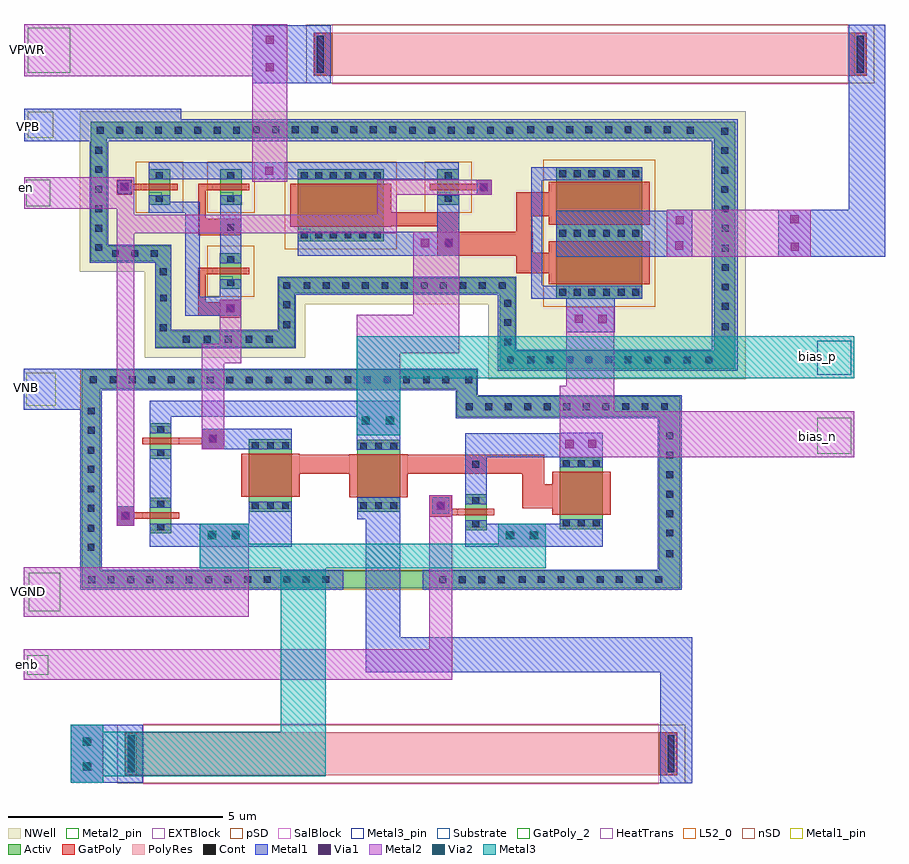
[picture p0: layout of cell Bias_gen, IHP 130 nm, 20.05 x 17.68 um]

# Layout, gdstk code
from math import pi, radians
import gdstk
lib = gdstk.Library(unit=1e-6, precision=5e-09)
def R(c, l, rs):  # rectangles x0, y0, x1, y1
    for r in rs: c.add(gdstk.rectangle(r[:2], r[2:], *l))
def A(c, l, x, y, w, h, nx, ny, dx, dy):  # array of equal rectangles
    R(c, l, [(x+i*dx, y+j*dy, x+i*dx+w, y+j*dy+h) for i in range(nx) for j in range(ny)])
def P(c, l, *ps):  # polygons
    for p in ps: c.add(gdstk.Polygon(p, *l))
Activ = (1, 0)
GatPoly = (5, 0)
GatPoly_2 = (5, 2)
Cont = (6, 0)
nSD = (7, 0)
Metal1 = (8, 0)
Metal1_pin = (8, 2)
Metal2 = (10, 0)
Metal2_pin = (10, 2)
pSD = (14, 0)
Via1 = (19, 0)
SalBlock = (28, 0)
Via2 = (29, 0)
Metal3 = (30, 0)
Metal3_pin = (30, 2)
NWell = (31, 0)
Substrate = (40, 0)
HeatTrans = (51, 0)
L52_0 = (52, 0)
EXTBlock = (111, 0)
PolyRes = (128, 0)

pmos_1 = lib.new_cell('pmos$1')
R(pmos_1, Activ, [(0,0,0.3,0.3), (0,0,0.83,0.5), (0.53,0,0.83,0.3)])
R(pmos_1, GatPoly, [(0.34,-0.18,0.49,0.68), (0.34,-0.18,0.49,0.68)])
R(pmos_1, Cont, [(0.07,0.17,0.23,0.33), (0.6,0.17,0.76,0.33)])
R(pmos_1, Metal1, [(0.07,0,0.23,0.5), (0.07,0,0.23,0.5), (0.6,0,0.76,0.5), (0.6,0,0.76,0.5)])
R(pmos_1, pSD, [(-0.18,-0.3,1.01,0.8)])
R(pmos_1, NWell, [(-0.31,-0.31,1.14,0.81)])
R(pmos_1, Substrate, [(0.53,0,0.83,0.3)])
R(pmos_1, HeatTrans, [(0.34,-0.18,0.49,0.68)])
pmos_1.add(gdstk.Label('pmos', (0.415,0.25), layer=63, texttype=0))
pmos_1.add(gdstk.Label('pmos', (0.415,0.25), layer=51, texttype=0))

pmos_2 = lib.new_cell('pmos$2')
R(pmos_2, Activ, [(0,0,0.3,0.3), (0,0,1.68,2), (1.38,0,1.68,0.3)])
R(pmos_2, GatPoly, [(0.34,-0.18,1.34,2.18), (0.34,-0.18,1.34,2.18)])
A(pmos_2, Cont, 0.07, 0.07, 0.16, 0.16, 1, 6, 0, 0.34)
A(pmos_2, Cont, 1.45, 0.07, 0.16, 0.16, 1, 6, 0, 0.34)
R(pmos_2, Metal1, [(0.07,0,0.23,2), (0.07,0,0.23,2), (1.45,0,1.61,2), (1.45,0,1.61,2)])
R(pmos_2, pSD, [(-0.18,-0.3,1.86,2.3)])
R(pmos_2, NWell, [(-0.31,-0.31,1.99,2.31)])
R(pmos_2, Substrate, [(1.38,0,1.68,0.3)])
R(pmos_2, HeatTrans, [(0.34,-0.18,1.34,2.18)])
pmos_2.add(gdstk.Label('pmos', (0.84,1), layer=63, texttype=0))
pmos_2.add(gdstk.Label('pmos', (0.84,1), layer=51, texttype=0))

pmos = lib.new_cell('pmos')
A(pmos, Activ, 0, 0, 0.3, 0.3, 3, 1, 1.38, 0)
R(pmos, Activ, [(0,0,3.06,2)])
R(pmos, GatPoly, [(0.34,-0.18,1.34,2.18), (0.34,-0.18,1.34,2.18), (1.72,-0.18,2.72,2.18)])
A(pmos, Cont, 0.07, 0.07, 0.16, 0.16, 3, 6, 1.38, 0.34)
R(pmos, Metal1, [(0.07,0,0.23,2), (0.07,0,0.23,2), (1.45,0,1.61,2), (1.45,0,1.61,2), (2.83,0,2.99,2)])
R(pmos, pSD, [(-0.18,-0.3,3.24,2.3)])
R(pmos, NWell, [(-0.31,-0.31,3.37,2.31)])
R(pmos, Substrate, [(2.76,0,3.06,0.3)])
R(pmos, HeatTrans, [(0.34,-0.18,1.34,2.18), (1.72,-0.18,2.72,2.18)])
pmos.add(gdstk.Label('pmos', (0.84,1), layer=63, texttype=0))
pmos.add(gdstk.Label('pmos', (0.84,1), layer=51, texttype=0))
pmos.add(gdstk.Label('pmos', (2.22,1), layer=51, texttype=0))

nmos_1 = lib.new_cell('nmos$1')
R(nmos_1, Activ, [(0,0,0.3,0.3), (0,0,0.83,0.5), (0.53,0,0.83,0.3)])
R(nmos_1, GatPoly, [(0.34,-0.18,0.49,0.68)])
R(nmos_1, GatPoly_2, [(0.34,-0.18,0.49,0.68)])
R(nmos_1, Cont, [(0.07,0.17,0.23,0.33), (0.6,0.17,0.76,0.33)])
R(nmos_1, Metal1, [(0.07,0,0.23,0.5), (0.6,0,0.76,0.5)])
R(nmos_1, Metal1_pin, [(0.07,0,0.23,0.5), (0.6,0,0.76,0.5)])
R(nmos_1, HeatTrans, [(0.34,-0.18,0.49,0.68)])
nmos_1.add(gdstk.Label('nmos', (0.415,0.25), layer=63, texttype=0))
nmos_1.add(gdstk.Label('nmos', (0.415,0.25), layer=51, texttype=0))

nmos_2 = lib.new_cell('nmos$2')
R(nmos_2, Activ, [(0,0,0.3,0.3), (0,0,1.68,1), (1.38,0,1.68,0.3)])
R(nmos_2, GatPoly, [(0.34,-0.18,1.34,1.18)])
R(nmos_2, GatPoly_2, [(0.34,-0.18,1.34,1.18)])
A(nmos_2, Cont, 0.07, 0.07, 0.16, 0.16, 1, 3, 0, 0.35)
A(nmos_2, Cont, 1.45, 0.07, 0.16, 0.16, 1, 3, 0, 0.35)
R(nmos_2, Metal1, [(0.07,0,0.23,1), (1.45,0,1.61,1)])
R(nmos_2, Metal1_pin, [(0.07,0,0.23,1), (1.45,0,1.61,1)])
R(nmos_2, HeatTrans, [(0.34,-0.18,1.34,1.18)])
nmos_2.add(gdstk.Label('nmos', (0.84,0.5), layer=63, texttype=0))
nmos_2.add(gdstk.Label('nmos', (0.84,0.5), layer=51, texttype=0))

rhigh_1 = lib.new_cell('rhigh$1')
R(rhigh_1, GatPoly, [(0,-0.43,1,0), (0,12,1,12.43)])
R(rhigh_1, Cont, [(0.07,-0.36,0.93,-0.2), (0.07,12.2,0.93,12.36)])
R(rhigh_1, nSD, [(-0.18,-0.61,1.18,0.18), (-0.18,0,1.18,12), (-0.18,0,1.18,12), (-0.18,11.82,1.18,12.61)])
R(rhigh_1, Metal1, [(0.02,-0.41,0.98,-0.15), (0.02,12.15,0.98,12.41)])
R(rhigh_1, Metal1_pin, [(0.02,-0.41,0.98,-0.15), (0.02,12.15,0.98,12.41)])
R(rhigh_1, pSD, [(-0.18,-0.61,1.18,0.18), (-0.18,0,1.18,12), (-0.18,0,1.18,12), (-0.18,11.82,1.18,12.61)])
R(rhigh_1, SalBlock, [(-0.2,0,1.2,12)])
R(rhigh_1, L52_0, [(0,0,1,12)])
R(rhigh_1, EXTBlock, [(-0.18,-0.61,1.18,0.18), (-0.2,0,1.2,12), (-0.18,11.82,1.18,12.61)])
R(rhigh_1, PolyRes, [(0,0,1,12)])
rhigh_1.add(gdstk.Label('rpnd r=17160.000', (0.5,6), layer=63, texttype=0))
rhigh_1.add(gdstk.Label('rhigh', (0.5,6), layer=52, texttype=0))

bias_gen = lib.new_cell('Bias_gen')
P(bias_gen, Activ, [(-0.215,-19.36),(-0.215,-14.72),(0.22,-14.72),(0.22,-18.955),(13.225,-18.955),(13.225,-15.37),(8.52,-15.37),(8.52,-14.72),(-0.215,-14.72),(-0.215,-14.28),(8.975,-14.28),(8.975,-14.895),(13.72,-14.895),(13.72,-19.36)],
  [(9.515,-14.255),(9.515,-12.5),(4.75,-12.5),(4.75,-13.75),(1.5,-13.75),(1.5,-11.745),(0,-11.745),(0,-8.89),(0.37,-8.89),(0.37,-11.39),(1.875,-11.39),(1.875,-13.375),(4.37,-13.375),(4.37,-12.135),(9.875,-12.135),(9.875,-13.835),(14.51,-13.835),(14.51,-8.89),(0,-8.89),(0,-8.5),(14.99,-8.5),(14.99,-14.255)])
P(bias_gen, GatPoly, [(10.035,-17.495),(10.035,-16.695),(3.5,-16.695),(3.5,-16.25),(10.555,-16.25),(10.555,-16.945),(12.095,-16.945),(12.095,-17.495),(10.585,-17.495)],
  [(2.585,-16.125),(2.585,-16.01),(1.195,-16.01),(1.195,-15.86),(2.585,-15.86),(2.585,-15.65),(3.1,-15.65),(3.1,-16.125)],
  [(0.6,-17.9),(0.6,-17.45),(1.015,-17.45),(1.015,-17.595),(2.055,-17.595),(2.055,-17.745),(1.015,-17.745),(1.015,-17.9)],
  [(7.875,-17.695),(7.875,-17.2),(8.4,-17.2),(8.4,-17.515),(9.39,-17.515),(9.39,-17.665),(8.4,-17.665),(8.4,-17.695)],
  [(0.6,-10.2),(0.6,-9.85),(0.96,-9.85),(0.96,-9.95),(2.025,-9.95),(2.025,-10.1),(0.96,-10.1),(0.96,-10.2)],
  [(2.5,-11.15),(2.5,-9.95),(3.69,-9.95),(3.69,-10.1),(2.675,-10.1),(2.675,-10.765),(3.505,-10.765),(3.505,-11.15)],
  [(3.005,-13.065),(3.005,-13.015),(2.5,-13.015),(2.5,-11.905),(3.685,-11.905),(3.685,-12.055),(2.675,-12.055),(2.675,-12.705),(3.005,-12.705),(3.005,-12.65),(3.505,-12.65),(3.505,-13.065)],
  [(8.975,-10.2),(8.975,-10.1),(7.885,-10.1),(7.885,-9.95),(8.975,-9.95),(8.975,-9.85),(9.33,-9.85),(9.33,-10.2)],
  [(10.65,-12.285),(10.65,-12.035),(9.9,-12.035),(9.9,-11.62),(8.065,-11.62),(8.065,-10.94),(6.995,-10.94),(6.995,-10.95),(4.635,-10.95),(4.635,-9.95),(6.995,-9.95),(6.995,-10.615),(8.57,-10.615),(8.57,-11.06),(9.9,-11.06),(9.9,-10.15),(10.65,-10.15),(10.65,-9.905),(13.01,-9.905),(13.01,-10.905),(10.65,-10.905),(10.65,-10.7),(10.27,-10.7),(10.27,-11.06),(10.28,-11.06),(10.28,-11.55),(10.65,-11.55),(10.65,-11.285),(13.01,-11.285),(13.01,-12.285)])
A(bias_gen, Cont, 2.63, -13.65, 0.16, 0.16, 3, 1, 0.485, 0)
R(bias_gen, Cont, [(-0.06,-19.24,0.1,-19.08), (0.39,-19.24,0.55,-19.08), (0.845,-19.24,1.005,-19.08), (1.295,-19.24,1.455,-19.08), (1.755,-19.24,1.915,-19.08), (2.205,-19.24,2.365,-19.08), (2.66,-19.24,2.82,-19.08), (3.11,-19.24,3.27,-19.08), (8.11,-19.24,8.27,-19.08), (8.56,-19.24,8.72,-19.08), (9.02,-19.24,9.18,-19.08), (9.47,-19.24,9.63,-19.08), (3.575,-19.235,3.735,-19.075), (3.575,-19.235,3.735,-19.075), (3.575,-19.235,3.735,-19.075), (4.025,-19.235,4.185,-19.075), (4.48,-19.235,4.64,-19.075), (4.93,-19.235,5.09,-19.075), (5.39,-19.235,5.55,-19.075), (9.955,-19.235,10.115,-19.075), (10.405,-19.235,10.565,-19.075), (10.86,-19.235,11.02,-19.075), (11.31,-19.235,11.47,-19.075), (11.77,-19.235,11.93,-19.075), (12.22,-19.235,12.38,-19.075), (12.685,-19.235,12.845,-19.075), (13.135,-19.235,13.295,-19.075), (13.39,-18.64,13.55,-18.48), (-0.075,-18.49,0.085,-18.33), (13.39,-18.155,13.55,-17.995), (-0.075,-18.04,0.085,-17.88), (0.725,-17.75,0.885,-17.59), (13.39,-17.705,13.55,-17.545), (-0.075,-17.58,0.085,-17.42), (8.055,-17.52,8.215,-17.36), (13.39,-17.25,13.55,-17.09), (-0.075,-17.13,0.085,-16.97), (13.39,-16.8,13.55,-16.64), (-0.075,-16.675,0.085,-16.515), (8.88,-16.555,9.04,-16.395), (13.39,-16.34,13.55,-16.18), (-0.075,-16.225,0.085,-16.065), (2.755,-15.96,2.915,-15.8), (13.39,-15.89,13.55,-15.73), (-0.07,-15.765,0.09,-15.605), (-0.07,-15.315,0.09,-15.155), (8.73,-15.215,8.89,-15.055), (9.18,-15.215,9.34,-15.055), (9.635,-15.215,9.795,-15.055), (10.085,-15.215,10.245,-15.055), (10.545,-15.215,10.705,-15.055), (10.995,-15.215,11.155,-15.055), (11.45,-15.215,11.61,-15.055), (11.9,-15.215,12.06,-15.055), (12.365,-15.21,12.525,-15.05), (12.365,-15.21,12.525,-15.05), (12.365,-15.21,12.525,-15.05), (12.815,-15.21,12.975,-15.05), (13.27,-15.21,13.43,-15.05), (2.25,-14.595,2.41,-14.435), (2.7,-14.595,2.86,-14.435), (3.155,-14.595,3.315,-14.435), (3.605,-14.595,3.765,-14.435), (4.065,-14.595,4.225,-14.435), (4.515,-14.595,4.675,-14.435), (8.71,-14.595,8.87,-14.435), (-0.025,-14.59,0.135,-14.43), (0.435,-14.59,0.595,-14.43), (0.885,-14.59,1.045,-14.43), (1.34,-14.59,1.5,-14.43), (1.79,-14.59,1.95,-14.43), (5,-14.59,5.16,-14.43), (5.45,-14.59,5.61,-14.43), (5.905,-14.59,6.065,-14.43), (6.355,-14.59,6.515,-14.43), (6.815,-14.59,6.975,-14.43), (7.265,-14.59,7.425,-14.43), (7.73,-14.59,7.89,-14.43), (8.18,-14.59,8.34,-14.43), (12.89,-14.13,13.05,-13.97), (13.34,-14.13,13.5,-13.97), (13.795,-14.13,13.955,-13.97), (13.795,-14.13,13.955,-13.97), (14.295,-14.13,14.455,-13.97), (9.685,-14.125,9.845,-13.965), (10.155,-14.125,10.315,-13.965), (10.605,-14.125,10.765,-13.965), (11.06,-14.125,11.22,-13.965), (11.51,-14.125,11.67,-13.965), (11.97,-14.125,12.13,-13.965), (12.42,-14.125,12.58,-13.965), (9.62,-13.71,9.78,-13.55), (2.14,-13.65,2.3,-13.49), (4.07,-13.65,4.23,-13.49), (1.605,-13.375,1.765,-13.215), (14.68,-13.355,14.84,-13.195), (4.48,-13.305,4.64,-13.145), (9.62,-13.255,9.78,-13.095), (3.175,-12.92,3.335,-12.76), (14.68,-12.88,14.84,-12.72), (4.48,-12.845,4.64,-12.685), (9.62,-12.805,9.78,-12.645), (1.61,-12.685,1.77,-12.525), (14.68,-12.43,14.84,-12.27), (4.48,-12.395,4.64,-12.235), (4.95,-12.395,5.11,-12.235), (5.4,-12.395,5.56,-12.235), (5.855,-12.395,6.015,-12.235), (6.305,-12.395,6.465,-12.235), (6.765,-12.395,6.925,-12.235), (7.215,-12.395,7.375,-12.235), (7.675,-12.395,7.835,-12.235), (8.125,-12.395,8.285,-12.235), (8.58,-12.395,8.74,-12.235), (9.03,-12.395,9.19,-12.235), (9.49,-12.395,9.65,-12.235), (1.605,-12.075,1.765,-11.915), (14.68,-11.975,14.84,-11.815), (0.495,-11.65,0.655,-11.49), (0.945,-11.65,1.105,-11.49), (1.4,-11.65,1.56,-11.49), (14.68,-11.525,14.84,-11.365), (0.105,-11.51,0.265,-11.35), (8.24,-11.41,8.4,-11.25), (14.68,-11.065,14.84,-10.905), (0.105,-11.06,0.265,-10.9), (3.175,-11.04,3.335,-10.88), (14.68,-10.615,14.84,-10.455), (0.105,-10.605,0.265,-10.445), (14.675,-10.16,14.835,-10), (0.105,-10.155,0.265,-9.995), (0.7,-10.105,0.86,-9.945), (9.07,-10.105,9.23,-9.945), (14.675,-9.71,14.835,-9.55), (0.105,-9.695,0.265,-9.535), (14.675,-9.255,14.835,-9.095), (0.105,-9.245,0.265,-9.085), (14.675,-8.805,14.835,-8.645), (0.14,-8.78,0.3,-8.62), (0.59,-8.78,0.75,-8.62), (1.045,-8.78,1.205,-8.62), (1.495,-8.78,1.655,-8.62), (1.955,-8.78,2.115,-8.62), (2.405,-8.78,2.565,-8.62), (2.86,-8.78,3.02,-8.62), (3.31,-8.78,3.47,-8.62), (7.405,-8.78,7.565,-8.62), (7.855,-8.78,8.015,-8.62), (8.31,-8.78,8.47,-8.62), (8.76,-8.78,8.92,-8.62), (9.22,-8.78,9.38,-8.62), (9.67,-8.78,9.83,-8.62), (13.865,-8.78,14.025,-8.62), (3.775,-8.775,3.935,-8.615), (3.775,-8.775,3.935,-8.615), (3.775,-8.775,3.935,-8.615), (4.225,-8.775,4.385,-8.615), (4.68,-8.775,4.84,-8.615), (5.13,-8.775,5.29,-8.615), (5.59,-8.775,5.75,-8.615), (6.04,-8.775,6.2,-8.615), (6.495,-8.775,6.655,-8.615), (6.945,-8.775,7.105,-8.615), (10.155,-8.775,10.315,-8.615), (10.605,-8.775,10.765,-8.615), (11.06,-8.775,11.22,-8.615), (11.51,-8.775,11.67,-8.615), (11.97,-8.775,12.13,-8.615), (12.42,-8.775,12.58,-8.615), (12.885,-8.775,13.045,-8.615), (13.335,-8.775,13.495,-8.615)])
R(bias_gen, Metal1, [(-0.47,-23.89,1.21,-22.535), (0.6,-17.9,1.015,-17.45), (7.95,-17.63,8.335,-17.24), (1.375,-17.485,1.875,-16.12), (2.585,-16.125,4.68,-15.65), (3.01,-11.795,3.505,-10.21), (8.975,-10.2,9.33,-9.85), (0.625,-10.18,0.94,-9.87), (1.345,-9.84,8.565,-9.45), (3.755,-7.61,5.585,-6.26)])
P(bias_gen, Metal1, [(9.465,-14.3),(9.465,-12.525),(4.77,-12.525),(4.77,-13.775),(1.5,-13.775),(1.5,-11.785),(-0.03,-11.785),(-0.03,-8.96),(0.4,-8.96),(0.4,-11.37),(1.875,-11.37),(1.875,-13.35),(4.35,-13.35),(4.35,-12.11),(9.9,-12.11),(9.9,-13.805),(14.45,-13.805),(14.45,-8.96),(-1.545,-8.96),(-1.545,-8.2),(2.105,-8.2),(2.105,-8.445),(15.05,-8.445),(15.05,-14.3)],
  [(-0.245,-19.39),(-0.245,-15.205),(-1.565,-15.205),(-1.565,-14.25),(9.005,-14.25),(9.005,-14.865),(13.75,-14.865),(13.75,-19.39),(7.725,-19.39),(7.725,-18.925),(13.19,-18.925),(13.19,-15.4),(8.495,-15.4),(8.495,-14.75),(0.25,-14.75),(0.25,-18.925),(5.875,-18.925),(5.875,-19.39)],
  [(16,-11.645),(16,-10.55),(17.64,-10.55),(17.64,-6.25),(18.49,-6.25),(18.49,-11.645)],
  [(8.71,-18.395),(8.71,-17.855),(8.71,-17.775),(9.21,-17.775),(9.21,-17.855),(10.915,-17.855),(10.915,-17.76),(11.915,-17.76),(11.915,-18.395)],
  [(1.375,-18.395),(1.375,-17.855),(3.68,-17.855),(3.68,-17.345),(4.68,-17.345),(4.68,-18.395)],
  [(13.25,-23.895),(13.25,-21.32),(6.4,-21.32),(6.4,-17.75),(6.195,-17.75),(6.195,-17.245),(7.195,-17.245),(7.195,-20.495),(14,-20.495),(14,-23.895)],
  [(6.19,-16.135),(6.19,-15.365),(1.875,-15.365),(1.875,-15.75),(1.375,-15.75),(1.375,-15),(7.195,-15),(7.195,-16.135)],
  [(8.715,-17.405),(8.715,-15.75),(10.915,-15.75),(10.915,-15.745),(11.915,-15.745),(11.915,-16.53),(10.915,-16.53),(10.915,-16.31),(9.215,-16.31),(9.215,-16.465),(9.21,-16.465),(9.21,-17.405)],
  [(10.83,-11.645),(10.83,-10.57),(13.4,-10.57),(13.4,-10.55),(14,-10.55),(14,-10.57),(14,-11.645)],
  [(2.195,-13.015),(2.195,-10.62),(1.345,-10.62),(1.345,-10.21),(1.845,-10.21),(1.845,-10.37),(2.54,-10.37),(2.54,-12.575),(3.005,-12.575),(3.005,-12.165),(3.505,-12.165),(3.505,-13.015)],
  [(4.815,-11.62),(4.815,-11.06),(8.065,-11.06),(8.065,-10.21),(8.57,-10.21),(8.57,-11.62)],
  [(11.06,-13.4),(11.06,-12.625),(10.25,-12.625),(10.25,-9.56),(12.83,-9.56),(12.83,-9.87),(10.5,-9.87),(10.5,-12.325),(12.83,-12.325),(12.83,-12.625),(12.19,-12.625),(12.19,-13.4)])
R(bias_gen, Metal1_pin, [(-1.5,-15.11,-0.815,-14.34), (-1.47,-8.88,-0.87,-8.27)])
R(bias_gen, Metal2, [(-0.47,-23.89,0.285,-22.535), (9.475,-18.395,10.59,-17.855), (13.4,-11.645,16.755,-10.55)])
P(bias_gen, Metal2, [(2.58,-16.125),(2.58,-13.67),(3.005,-13.67),(3.005,-12.65),(3.505,-12.65),(3.505,-14.125),(3.1,-14.125),(3.1,-16.125)],
  [(6.19,-15.8),(6.19,-13),(7.5,-13),(7.5,-11.06),(8.575,-11.06),(8.575,-13.895),(7.195,-13.895),(7.195,-15.8)],
  [(3.755,-9.9),(3.755,-7.45),(-1.545,-7.45),(-1.545,-6.235),(4.57,-6.235),(4.57,-9.9)],
  [(0.6,-17.9),(0.6,-10.53),(-1.545,-10.53),(-1.545,-9.8),(1.01,-9.8),(1.01,-10.67),(6.66,-10.67),(6.66,-9.85),(9.33,-9.85),(9.33,-10.2),(7.115,-10.2),(7.115,-11.095),(1.015,-11.095),(1.015,-17.9)],
  [(10.915,-16.31),(10.915,-14.645),(11.06,-14.645),(11.06,-12.805),(12.185,-12.805),(12.185,-15.245),(17.765,-15.245),(17.765,-16.31)],
  [(-1.565,-21.49),(-1.565,-20.775),(7.875,-20.775),(7.875,-17.2),(8.405,-17.2),(8.405,-21.49)],
  [(-1.565,-20.025),(-1.565,-18.875),(2.53,-18.875),(2.53,-17.855),(3.675,-17.855),(3.675,-19.345),(3.675,-20.025)])
R(bias_gen, Metal2_pin, [(-1.485,-21.37,-0.99,-20.92), (-1.45,-19.895,-0.71,-19.005), (16.905,-16.23,17.69,-15.39), (-1.5,-10.47,-0.95,-9.85), (-1.465,-7.37,-0.475,-6.32)])
P(bias_gen, pSD, [(-0.245,-19.39),(-0.245,-14.75),(0.25,-14.75),(0.25,-18.925),(8.49,-18.925),(13.19,-18.925),(13.19,-15.4),(8.49,-15.4),(8.49,-14.75),(-0.245,-14.75),(-0.245,-14.25),(9.005,-14.25),(9.005,-14.865),(13.75,-14.865),(13.75,-19.39)])
R(bias_gen, Via1, [(-0.185,-23.605,0.005,-23.415), (-0.185,-23.015,0.005,-22.825), (10.215,-18.225,10.405,-18.035), (9.665,-18.22,9.855,-18.03), (2.72,-18.215,2.91,-18.025), (3.28,-18.215,3.47,-18.025), (0.71,-17.765,0.9,-17.575), (8.045,-17.535,8.235,-17.345), (11.045,-16.1,11.235,-15.91), (11.57,-16.095,11.76,-15.905), (2.74,-15.975,2.93,-15.785), (6.305,-15.55,6.495,-15.36), (6.87,-15.55,7.06,-15.36), (11.81,-13.19,12,-13), (11.26,-13.185,11.45,-12.995), (3.155,-12.94,3.345,-12.75), (16.285,-11.51,16.475,-11.32), (13.6,-11.48,13.79,-11.29), (7.68,-11.42,7.87,-11.23), (8.23,-11.42,8.42,-11.23), (13.61,-10.89,13.8,-10.7), (16.28,-10.865,16.47,-10.675), (9.05,-10.125,9.24,-9.935), (0.69,-10.115,0.88,-9.925), (4.06,-9.74,4.25,-9.55), (4.07,-7.335,4.26,-7.145), (4.065,-6.69,4.255,-6.5)])
R(bias_gen, Via2, [(-0.19,-23.6,0,-23.41), (-0.19,-23.025,0,-22.835), (10.22,-18.225,10.41,-18.035), (9.655,-18.22,9.845,-18.03), (2.725,-18.215,2.915,-18.025), (3.275,-18.215,3.465,-18.025), (6.3,-15.545,6.49,-15.355), (6.865,-15.545,7.055,-15.355)])
P(bias_gen, Metal3, [(-0.47,-23.89),(-0.47,-22.535),(0.285,-22.535),(0.285,-22.695),(4.42,-22.695),(4.42,-18.9),(2.53,-18.9),(2.53,-17.855),(3.675,-17.855),(3.675,-18.32),(9.475,-18.32),(9.475,-17.855),(10.59,-17.855),(10.59,-18.9),(5.465,-18.9),(5.465,-23.735),(0.285,-23.735),(0.285,-23.89)],
  [(6.19,-15.8),(6.19,-13.495),(17.765,-13.495),(17.765,-14.475),(7.195,-14.475),(7.195,-15.8)])
R(bias_gen, Metal3_pin, [(16.9,-14.395,17.7,-13.6)])
P(bias_gen, NWell, [(9.245,-14.495),(9.245,-12.75),(4.99,-12.75),(4.99,-14),(1.25,-14),(1.25,-12),(-0.255,-12),(-0.255,-8.255),(15.24,-8.255),(15.24,-14.495)])
bias_gen.add(gdstk.Reference(pmos_1, (3.01,-9.61), rotation=3*pi/2))
bias_gen.add(gdstk.Reference(pmos_1, (1.345,-9.61), rotation=3*pi/2))
bias_gen.add(gdstk.Reference(pmos_1, (3.005,-11.565), rotation=3*pi/2))
bias_gen.add(gdstk.Reference(pmos_2, (4.815,-9.61), rotation=3*pi/2))
bias_gen.add(gdstk.Reference(pmos_1, (8.065,-9.61), rotation=3*pi/2))
bias_gen.add(gdstk.Reference(pmos, (10.83,-9.565), rotation=3*pi/2))
bias_gen.add(gdstk.Reference(nmos_1, (1.375,-15.52), rotation=3*pi/2))
bias_gen.add(gdstk.Reference(nmos_1, (1.375,-17.255), rotation=3*pi/2))
bias_gen.add(gdstk.Reference(nmos_2, (3.68,-15.895), rotation=3*pi/2))
bias_gen.add(gdstk.Reference(nmos_1, (8.71,-17.175), rotation=3*pi/2))
bias_gen.add(gdstk.Reference(nmos_2, (10.915,-16.31), rotation=3*pi/2))
bias_gen.add(gdstk.Reference(nmos_2, (6.195,-15.905), rotation=3*pi/2))
bias_gen.add(gdstk.Reference(rhigh_1, (17.62,-7.43), rotation=pi/2))
bias_gen.add(gdstk.Reference(rhigh_1, (13.22,-23.715), rotation=pi/2))
bias_gen.add(gdstk.Label('bias_p', (16.9,-13.975), layer=8, texttype=0))
bias_gen.add(gdstk.Label('bias_n', (16.905,-15.83), layer=8, texttype=0))
bias_gen.add(gdstk.Label('enb', (-1.485,-21.14), layer=8, texttype=0))
bias_gen.add(gdstk.Label('VGND', (-1.45,-19.425), layer=8, texttype=0))
bias_gen.add(gdstk.Label('VNB', (-1.5,-14.685), layer=8, texttype=0))
bias_gen.add(gdstk.Label('VPWR', (-1.465,-6.83), layer=8, texttype=0))
bias_gen.add(gdstk.Label('VPB', (-1.46,-8.61), layer=8, texttype=2))
bias_gen.add(gdstk.Label('en', (-1.5,-10.035), layer=10, texttype=2))

lib.write_gds('Bias_gen.gds')
